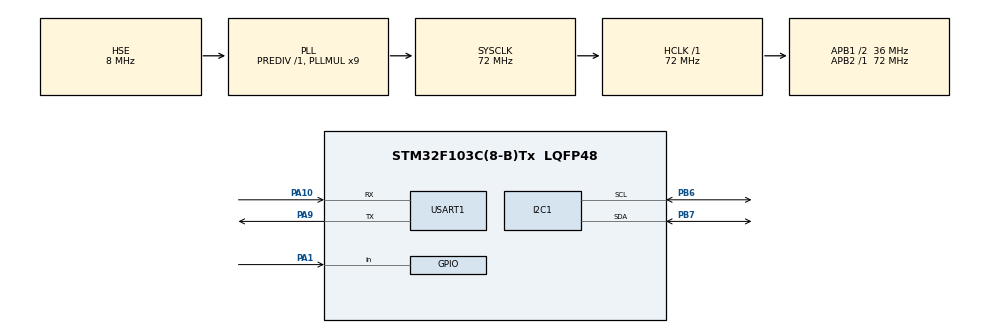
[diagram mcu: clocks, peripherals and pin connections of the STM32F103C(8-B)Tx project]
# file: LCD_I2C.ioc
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Mcu.Family=STM32F1
Mcu.Name=STM32F103C(8-B)Tx
Mcu.Package=LQFP48
NVIC.I2C1_EV_IRQn=true\:0\:0\:false\:false\:true\:true\:true\:true
NVIC.PriorityGroup=NVIC_PRIORITYGROUP_4
NVIC.USART1_IRQn=true\:0\:0\:false\:false\:true\:true\:true\:true
PA1.GPIO_PuPd=GPIO_PULLUP
PA1.Signal=GPIO_Input
PA10.Mode=Multiprocessor_communication
PA10.Signal=USART1_RX
PA13.Mode=Serial_Wire
PA13.Signal=SYS_JTMS-SWDIO
PA14.Mode=Serial_Wire
PA14.Signal=SYS_JTCK-SWCLK
PA9.Mode=Multiprocessor_communication
PA9.Signal=USART1_TX
PB6.Mode=I2C
PB6.Signal=I2C1_SCL
PB7.Mode=I2C
PB7.Signal=I2C1_SDA
PD0-OSC_IN.Mode=HSE-External-Oscillator
PD0-OSC_IN.Signal=RCC_OSC_IN
PD1-OSC_OUT.Mode=HSE-External-Oscillator
PD1-OSC_OUT.Signal=RCC_OSC_OUT
ProjectManager.HeapSize=0x200
ProjectManager.StackSize=0x400
ProjectManager.TargetToolchain=STM32CubeIDE
RCC.AHBFreq_Value=72000000
RCC.APB1CLKDivider=RCC_HCLK_DIV2
RCC.APB1Freq_Value=36000000
RCC.APB1TimFreq_Value=72000000
RCC.APB2Freq_Value=72000000
RCC.APB2TimFreq_Value=72000000
RCC.HCLKFreq_Value=72000000
RCC.PLLMUL=RCC_PLL_MUL9
RCC.PLLSourceVirtual=RCC_PLLSOURCE_HSE
RCC.SYSCLKFreq_VALUE=72000000
RCC.SYSCLKSource=RCC_SYSCLKSOURCE_PLLCLK
RCC.USBFreq_Value=72000000
USART1.VirtualMode=VM_ASYNC
board=custom

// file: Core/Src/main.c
/* USER CODE BEGIN Header */
/**
  ******************************************************************************
  * @file           : main.c
  * @brief          : Main program body
  ******************************************************************************
  * @attention
  *
  * Copyright (c) 2025 STMicroelectronics.
  * All rights reserved.
  *
  * This software is licensed under terms that can be found in the LICENSE file
  * in the root directory of this software component.
  * If no LICENSE file comes with this software, it is provided AS-IS.
  *
  ******************************************************************************
  */
/* USER CODE END Header */
#include "main.h"

/* USER CODE BEGIN Includes */
#include <stdio.h>
#include "i2c_lcd.h"
#include "string.h"

/* USER CODE END Includes */

I2C_HandleTypeDef hi2c1;
UART_HandleTypeDef huart1;

/* USER CODE BEGIN PV */
I2C_LCD_HandleTypeDef lcd1;

uint8_t lastButtonState = 1;
uint8_t pressCount = 0;

/* USER CODE END PV */

void SystemClock_Config(void);
static void MX_GPIO_Init(void);
static void MX_I2C1_Init(void);
static void MX_USART1_UART_Init(void);

int main(void)
{

  /* MCU Configuration--------------------------------------------------------*/

  /* Reset of all peripherals, Initializes the Flash interface and the Systick. */
  HAL_Init();

  /* Configure the system clock */
  SystemClock_Config();

  /* Initialize all configured peripherals */
  MX_GPIO_Init();
  MX_I2C1_Init();
  MX_USART1_UART_Init();
  /* USER CODE BEGIN 2 */

  /*LCD init*/
  lcd1.hi2c = &hi2c1;
  lcd1.address = 0x4E; //địa chỉ 0x27<<1
  lcd_init(&lcd1);
  lcd_clear(&lcd1);
  lcd_puts(&lcd1,"Button count:");

  /* USER CODE END 2 */

  /* Infinite loop */
  /* USER CODE BEGIN WHILE */
  while (1)
  {
	  uint8_t currentState = HAL_GPIO_ReadPin(GPIOA, GPIO_PIN_1);

	  //Phát hiện cạnh xuống (bấm nút)
	  if (lastButtonState == 1 && currentState == 0){
		  pressCount++;

		  char buffer[16];
		  sprintf(buffer,"Count: %u", pressCount);

		  lcd_gotoxy(&lcd1,0,1); //dòng 2
		  lcd_puts(&lcd1,"             "); //xóa dòng cũ
		  lcd_gotoxy(&lcd1,0,1);
		  lcd_puts(&lcd1, buffer);

		  HAL_Delay(200);
	  }

	  lastButtonState = currentState;
	  HAL_Delay(10);
    /* USER CODE END WHILE */

  }
}

void SystemClock_Config(void)
{
  RCC_OscInitTypeDef RCC_OscInitStruct = {0};
  RCC_ClkInitTypeDef RCC_ClkInitStruct = {0};

  /** Initializes the RCC Oscillators according to the specified parameters
  * in the RCC_OscInitTypeDef structure.
  */
  RCC_OscInitStruct.OscillatorType = RCC_OSCILLATORTYPE_HSE;
  RCC_OscInitStruct.HSEState = RCC_HSE_ON;
  RCC_OscInitStruct.HSEPredivValue = RCC_HSE_PREDIV_DIV1;
  RCC_OscInitStruct.HSIState = RCC_HSI_ON;
  RCC_OscInitStruct.PLL.PLLState = RCC_PLL_ON;
  RCC_OscInitStruct.PLL.PLLSource = RCC_PLLSOURCE_HSE;
  RCC_OscInitStruct.PLL.PLLMUL = RCC_PLL_MUL9;
  if (HAL_RCC_OscConfig(&RCC_OscInitStruct) != HAL_OK)
  {
    Error_Handler();
  }

  /** Initializes the CPU, AHB and APB buses clocks
  */
  RCC_ClkInitStruct.ClockType = RCC_CLOCKTYPE_HCLK|RCC_CLOCKTYPE_SYSCLK
                              |RCC_CLOCKTYPE_PCLK1|RCC_CLOCKTYPE_PCLK2;
  RCC_ClkInitStruct.SYSCLKSource = RCC_SYSCLKSOURCE_PLLCLK;
  RCC_ClkInitStruct.AHBCLKDivider = RCC_SYSCLK_DIV1;
  RCC_ClkInitStruct.APB1CLKDivider = RCC_HCLK_DIV2;
  RCC_ClkInitStruct.APB2CLKDivider = RCC_HCLK_DIV1;

  if (HAL_RCC_ClockConfig(&RCC_ClkInitStruct, FLASH_LATENCY_2) != HAL_OK)
  {
    Error_Handler();
  }
}

static void MX_I2C1_Init(void)
{

  hi2c1.Instance = I2C1;
  hi2c1.Init.ClockSpeed = 100000;
  hi2c1.Init.DutyCycle = I2C_DUTYCYCLE_2;
  hi2c1.Init.OwnAddress1 = 0;
  hi2c1.Init.AddressingMode = I2C_ADDRESSINGMODE_7BIT;
  hi2c1.Init.DualAddressMode = I2C_DUALADDRESS_DISABLE;
  hi2c1.Init.OwnAddress2 = 0;
  hi2c1.Init.GeneralCallMode = I2C_GENERALCALL_DISABLE;
  hi2c1.Init.NoStretchMode = I2C_NOSTRETCH_DISABLE;
  if (HAL_I2C_Init(&hi2c1) != HAL_OK)
  {
    Error_Handler();
  }

}

static void MX_USART1_UART_Init(void)
{

  huart1.Instance = USART1;
  huart1.Init.BaudRate = 115200;
  huart1.Init.WordLength = UART_WORDLENGTH_8B;
  huart1.Init.StopBits = UART_STOPBITS_1;
  huart1.Init.Parity = UART_PARITY_NONE;
  huart1.Init.Mode = UART_MODE_TX_RX;
  huart1.Init.HwFlowCtl = UART_HWCONTROL_NONE;
  huart1.Init.OverSampling = UART_OVERSAMPLING_16;
  if (HAL_MultiProcessor_Init(&huart1, 0, UART_WAKEUPMETHOD_IDLELINE) != HAL_OK)
  {
    Error_Handler();
  }

}

static void MX_GPIO_Init(void)
{
  GPIO_InitTypeDef GPIO_InitStruct = {0};

  /* GPIO Ports Clock Enable */
  __HAL_RCC_GPIOD_CLK_ENABLE();
  __HAL_RCC_GPIOA_CLK_ENABLE();
  __HAL_RCC_GPIOB_CLK_ENABLE();

  /*Configure GPIO pin : PA1 */
  GPIO_InitStruct.Pin = GPIO_PIN_1;
  GPIO_InitStruct.Mode = GPIO_MODE_INPUT;
  GPIO_InitStruct.Pull = GPIO_PULLUP;
  HAL_GPIO_Init(GPIOA, &GPIO_InitStruct);

}

void Error_Handler(void)
{
  __disable_irq();
  while (1)
  {
  }
}
